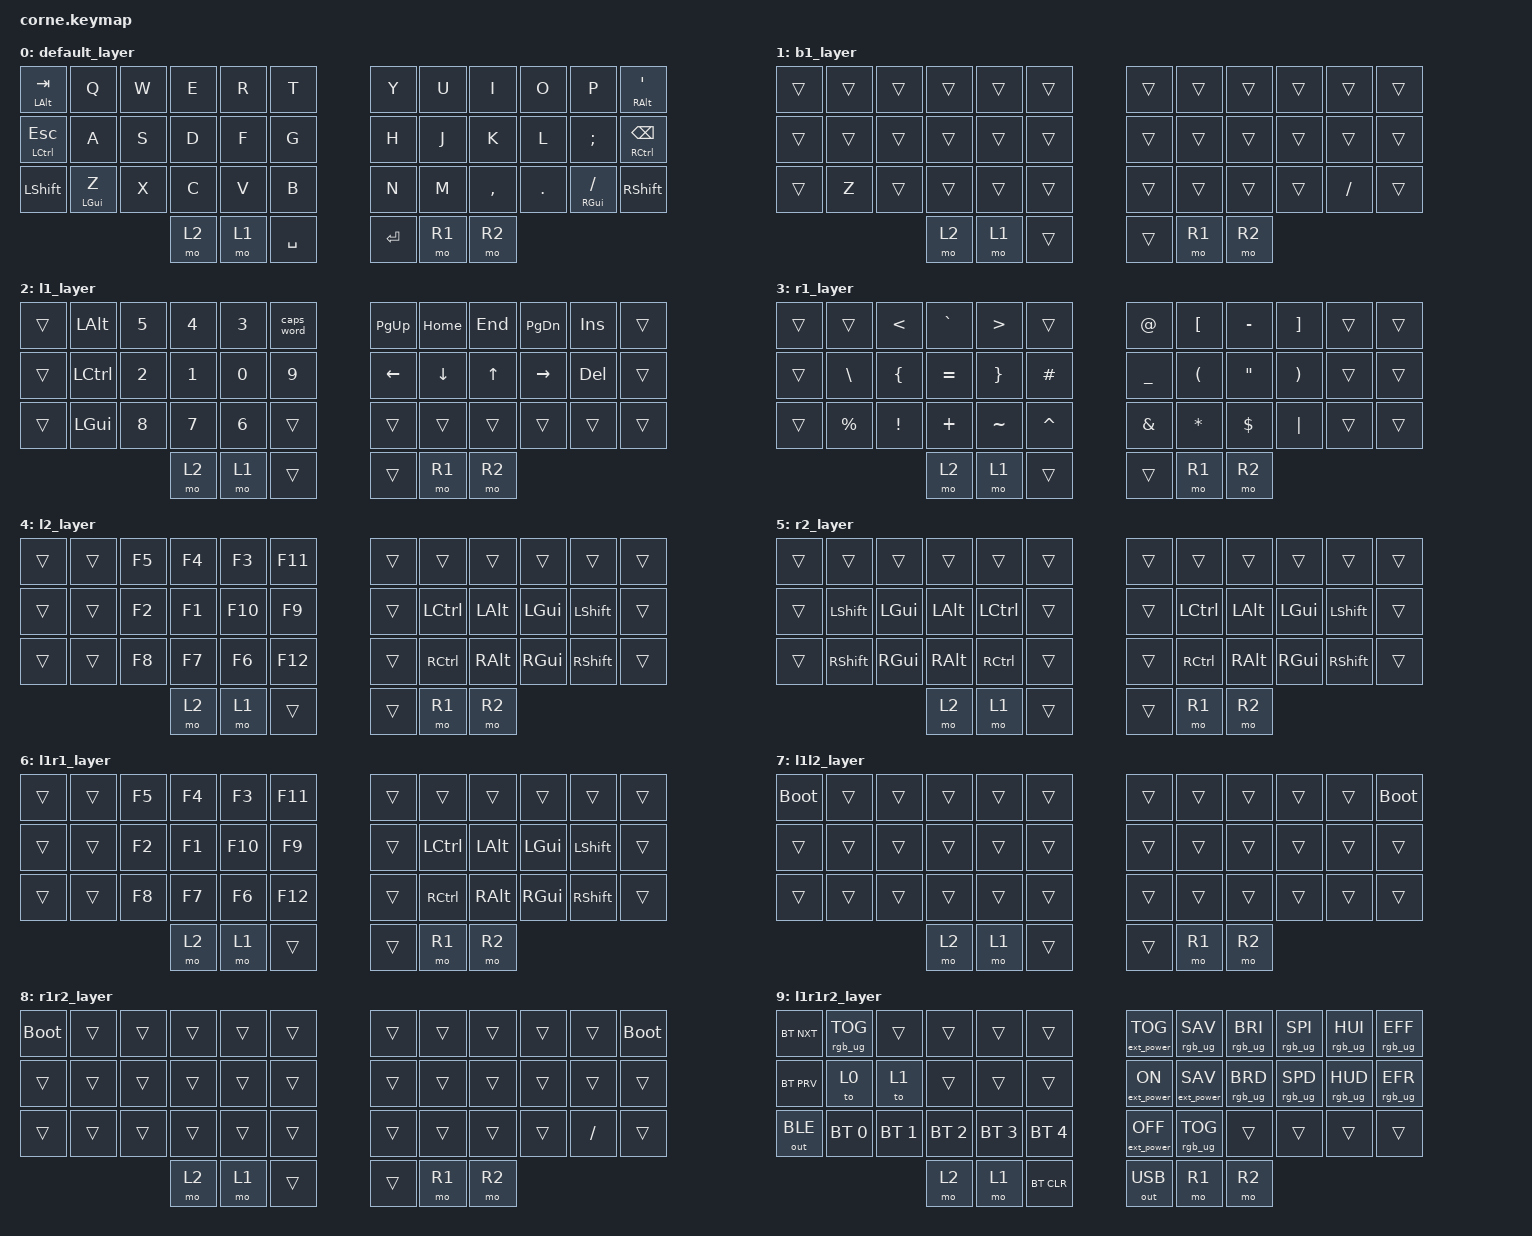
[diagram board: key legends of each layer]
#include <behaviors.dtsi>
#include <dt-bindings/zmk/rgb.h>
#include <dt-bindings/zmk/keys.h>
#include <dt-bindings/zmk/bt.h>
#include <dt-bindings/zmk/ext_power.h>
#include <dt-bindings/zmk/outputs.h>

#define rgb_sv &rgb_ug RGB_SAV
#define rgb_hn &rgb_ug RGB_HUI
#define rgb_hp &rgb_ug RGB_HUD
#define rgb_bn &rgb_ug RGB_BRI
#define rgb_bp &rgb_ug RGB_BRD
#define rgb_sn &rgb_ug RGB_SPI
#define rgb_sp &rgb_ug RGB_SPD
#define rgb_en &rgb_ug RGB_EFF
#define rgb_ep &rgb_ug RGB_EFR
#define rgb_tg &rgb_ug RGB_TOG

#define pwr_tg  &ext_power EP_TOG
#define pwr_on  &ext_power EP_ON
#define pwr_off &ext_power EP_OFF
#define pwr_sv  &ext_power EP_SAV

#define xbt_clr &bt BT_CLR
#define xbt_n &bt BT_NXT
#define xbt_p &bt BT_PRV
#define xbt_s0 &bt BT_SEL 0
#define xbt_s1 &bt BT_SEL 1
#define xbt_s2 &bt BT_SEL 2
#define xbt_s3 &bt BT_SEL 3
#define xbt_s4 &bt BT_SEL 4

#define out_b &out OUT_BLE
#define out_u &out OUT_USB

#define df_b0 &to 0
#define df_b1 &to 1

#define DEFAULT 0
#define B1      1
#define L1      2
#define R1      3
#define L2      4
#define R2      5
#define L1R1    6
#define L1L2    7
#define R1R2    8
#define L1R1R2  9


#define TABLALT &bht LALT TAB
#define QUORALT &bht RALT SQT
#define ESCLCTL &mt LCTRL ESCAPE
#define BSPCRCTL &bht RCTRL BSPC
#define ZLGUI &bht LGUI Z
#define SLHRGUI &bht RGUI FSLH

&oled {
    power-domain = <&pd_ext_power>;
};

&led_strip {
    power-domain = <&pd_ext_power>;
};

/ {
    dev_pm_policy_1 {
        compatible = "zmk,dev-pm-policy";
        label = "DEV_PM_POLICY_1";
        device = <&pd_ext_power>;
        auto-off-on-idle;
    };
};

&mt {
    tapping-term-ms = <169>;
};

/ {

    behaviors {
        bht: balanced_hold_tap {
            compatible = "zmk,behavior-hold-tap";
            label = "bht";
            #binding-cells = <2>;
            tapping-term-ms = <200>;
            quick-tap-ms = <300>;
            flavor = "balanced";
            bindings = <&kp>, <&kp>;
        };
    };
        conditional_layers {
            compatible = "zmk,conditional-layers";
            l1r1 {
                if-layers = <2 3>;
                then-layer = <6>;
            };
            l1l2 {
                if-layers = <2 4>;
                then-layer = <7>;
            };
            r1r2 {
                if-layers = <3 5>;
                then-layer = <8>;
            };
            l1r1r2 {
                if-layers = <2 3 5>;
                then-layer = <9>;
            };
        };


        keymap {
                compatible = "zmk,keymap";
                default_layer { bindings = <
TABLALT    &kp Q      &kp W      &kp E      &kp R      &kp T      /*|*/ &kp Y      &kp U      &kp I      &kp O      &kp P      QUORALT
ESCLCTL    &kp A      &kp S      &kp D      &kp F      &kp G      /*|*/ &kp H      &kp J      &kp K      &kp L      &kp SEMI   BSPCRCTL
&kp LSHFT  ZLGUI      &kp X      &kp C      &kp V      &kp B      /*|*/ &kp N      &kp M      &kp COMMA  &kp DOT    SLHRGUI    &kp RSHFT
                                            &mo L2     &mo L1     &kp SPACE  /*|*/ &kp RET    &mo R1     &mo R2 >; };

                b1_layer { bindings = <
&trans     &trans     &trans     &trans     &trans     &trans     /*|*/ &trans     &trans     &trans     &trans     &trans     &trans
&trans     &trans     &trans     &trans     &trans     &trans     /*|*/ &trans     &trans     &trans     &trans     &trans     &trans
&trans     &kp Z      &trans     &trans     &trans     &trans     /*|*/ &trans     &trans     &trans     &trans     &kp FSLH   &trans
                                            &mo L2     &mo L1     &trans     /*|*/ &trans     &mo R1     &mo R2 >; };

                l1_layer { bindings = <
&trans     &kp LALT   &kp N5     &kp N4     &kp N3     &caps_word /*|*/ &kp PG_UP  &kp HOME   &kp END    &kp PG_DN  &kp INS    &trans
&trans     &kp LCTRL  &kp N2     &kp N1     &kp N0     &kp N9     /*|*/ &kp LEFT   &kp DOWN   &kp UP     &kp RIGHT  &kp DEL    &trans
&trans     &kp LGUI   &kp N8     &kp N7     &kp N6     &trans     /*|*/ &trans     &trans     &trans     &trans     &trans     &trans
                                            &mo L2     &mo L1     &trans     /*|*/ &trans     &mo R1     &mo R2 >; };

                r1_layer { bindings = <
&trans &trans    &kp LT   &kp GRAVE &kp GT    &trans    /*|*/ &kp AT    &kp LBKT &kp MINUS &kp RBKT &trans  &trans
&trans &kp BSLH  &kp LBRC &kp EQUAL &kp RBRC  &kp HASH  /*|*/ &kp UNDER &kp LPAR &kp DQT   &kp RPAR &trans &trans
&trans &kp PRCNT &kp EXCL &kp PLUS  &kp TILDE &kp CARET /*|*/ &kp AMPS  &kp STAR &kp DLLR  &kp PIPE &trans &trans
                             &mo L2 &mo L1 &trans   /*|*/ &trans &mo R1 &mo R2 >; };


                l2_layer { bindings = <
&trans &trans &kp F5 &kp F4 &kp F3  &kp F11 /*|*/ &trans &trans    &trans   &trans   &trans    &trans
&trans &trans &kp F2 &kp F1 &kp F10 &kp F9  /*|*/ &trans &kp LCTRL &kp LALT &kp LGUI &kp LSHFT &trans
&trans &trans &kp F8 &kp F7 &kp F6  &kp F12 /*|*/ &trans &kp RCTRL &kp RALT &kp RGUI &kp RSHFT &trans
                            &mo L2  &mo L1 &trans /*|*/ &trans &mo R1 &mo R2 >; };

                r2_layer { bindings = <
&trans &trans    &trans   &trans   &trans    &trans /*|*/ &trans &trans    &trans   &trans   &trans    &trans
&trans &kp LSHFT &kp LGUI &kp LALT &kp LCTRL &trans /*|*/ &trans &kp LCTRL &kp LALT &kp LGUI &kp LSHFT &trans
&trans &kp RSHFT &kp RGUI &kp RALT &kp RCTRL &trans /*|*/ &trans &kp RCTRL &kp RALT &kp RGUI &kp RSHFT &trans
                            &mo L2 &mo L1 &trans /*|*/ &trans &mo R1 &mo R2 >; };

                l1r1_layer { bindings = <
&trans &trans &kp F5 &kp F4 &kp F3  &kp F11 /*|*/ &trans &trans    &trans   &trans   &trans    &trans
&trans &trans &kp F2 &kp F1 &kp F10 &kp F9  /*|*/ &trans &kp LCTRL &kp LALT &kp LGUI &kp LSHFT &trans
&trans &trans &kp F8 &kp F7 &kp F6  &kp F12 /*|*/ &trans &kp RCTRL &kp RALT &kp RGUI &kp RSHFT &trans
                     &mo L2  &mo L1 &trans  /*|*/ &trans &mo R1 &mo R2 >; };

                l1l2_layer { bindings = <
&bootloader &trans &trans &trans &trans &trans /*|*/ &trans &trans &trans &trans &trans &bootloader
&trans      &trans &trans &trans &trans &trans /*|*/ &trans &trans &trans &trans &trans &trans
&trans      &trans &trans &trans &trans &trans /*|*/ &trans &trans &trans &trans &trans &trans
                          &mo L2 &mo L1 &trans /*|*/ &trans &mo R1 &mo R2 >; };

                r1r2_layer { bindings = <
&bootloader &trans &trans &trans &trans &trans /*|*/ &trans &trans &trans &trans &trans   &bootloader
&trans      &trans &trans &trans &trans &trans /*|*/ &trans &trans &trans &trans &trans   &trans
&trans      &trans &trans &trans &trans &trans /*|*/ &trans &trans &trans &trans &kp FSLH &trans
                          &mo L2 &mo L1 &trans /*|*/ &trans &mo R1 &mo R2 >; };

                l1r1r2_layer { bindings = <
xbt_n rgb_tg &trans &trans &trans &trans  /*|*/  pwr_tg     rgb_sv rgb_bn rgb_sn rgb_hn rgb_en
xbt_p df_b0  df_b1  &trans &trans &trans  /*|*/  pwr_on     pwr_sv rgb_bp rgb_sp rgb_hp rgb_ep
out_b xbt_s0 xbt_s1 xbt_s2 xbt_s3 xbt_s4  /*|*/  pwr_off    rgb_tg &trans &trans &trans &trans
                            &mo L2 &mo L1 xbt_clr /*|*/ out_u  &mo R1     &mo R2 >; };
        };
};
